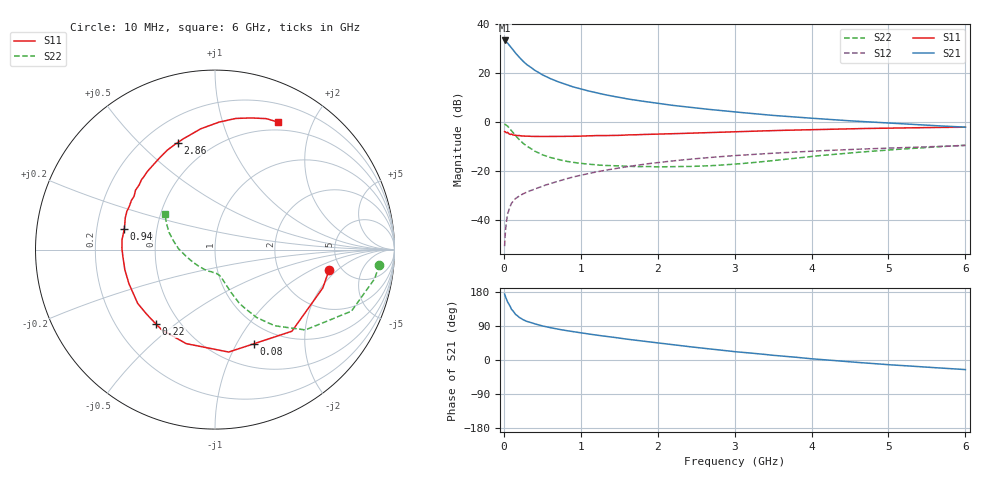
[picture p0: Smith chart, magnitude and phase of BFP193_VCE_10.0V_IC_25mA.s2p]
! Infineon Technologies  Discrete & RF Semiconductors
! BFP193
! VCE = 10.0V,  IC =  25 mA
! Common Emitter S-Parameters:  Jan 2016
# GHz  S  MA  R  50
!  f  S11  S21  S12  S22
! GHz  MAG  ANG  MAG  ANG  MAG  ANG  MAG  ANG
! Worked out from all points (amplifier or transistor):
!   210 points, 10 MHz to 6 GHz, reference 50 ohm
!   highest |S21| = 33.3 dB at 10 MHz (marker M1)
!   |S21| within 3 dB of that: start of sweep to 99.62 MHz
!   unconditionally stable (mu >= 1): 795.4 MHz to 3.943 GHz
!   at 185 MHz: K = 0.51, MSG = 28.7 dB, |S12| = -30.4 dB
!   at 1.52 GHz: K = 1.07, MAG = 12.7 dB, |S12| = -18.5 dB
!   at 6 GHz: K = 0.93, MSG = 3.7 dB, |S12| = -9.5 dB
!   S11 on the Smith chart (normalised r, x): 10 MHz: 4.00, -1.57; 80 MHz: 0.76, -1.18; 220 MHz: 0.37, -0.43; 940 MHz: 0.32, +0.10; 2.86 GHz: 0.33, +0.66; 6 GHz: 0.40, +1.54
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0.01  0.6458 -10.2  46.33 174.0  0.003 74.8  0.9195 -5.2
0.02  0.6375 -19.6  44.56 167.3  0.0058 78.1  0.9044 -10.3
0.05  0.6249 -46.7  40.78 152.6  0.0137 69.4  0.834 -24.3
0.08  0.5676 -67.5  35.48 142.3  0.0189 61.7  0.7291 -33.8
0.1  0.5759 -82.4  32.75 133.7  0.0225 58.6  0.6731 -41.7
0.15  0.5479 -107.0  25.77 120.8  0.0278 52.7  0.5383 -52.0
0.2  0.5369 -123.5  21.05 112.4  0.0314 50.9  0.4433 -58.5
0.22  0.5288 -128.5  19.58 110.2  0.0328 50.8  0.4143 -60.0
0.26  0.5235 -138.0  16.92 105.4  0.0355 50.7  0.3622 -63.3
0.3  0.5247 -145.2  14.89 101.8  0.0379 51.2  0.3259 -65.7
0.4  0.5158 -158.3  11.5 95.3  0.0436 53.1  0.2589 -69.2
0.5  0.5147 -167.4  9.274 89.9  0.0499 54.2  0.2185 -71.6
0.7  0.5187 179.2  6.733 81.4  0.0626 56.9  0.1753 -75.2
0.94  0.5187 167.4  5.054 73.6  0.0795 57.3  0.1497 -79.0
1.02  0.5233 163.6  4.672 71.1  0.0848 57.4  0.1445 -80.6
1.4  0.5404 149.6  3.421 60.5  0.1107 55.3  0.1312 -89.7
2.02  0.5763 130.6  2.4 44.7  0.152 49.4  0.1237 -110.3
2.86  0.6315 109.3  1.707 25.2  0.2018 39.9  0.1355 -144.4
3.1  0.6471 104.2  1.573 20.3  0.2145 37.0  0.1446 -153.4
4.1  0.7155 86.7  1.18 1.7  0.2624 25.8  0.2087 176.4
5.1  0.7648 73.4  0.945 -13.6  0.3016 15.2  0.2798 157.7
6  0.7928 63.5  0.796 -25.3  0.3358 6.0  0.341 144.7
